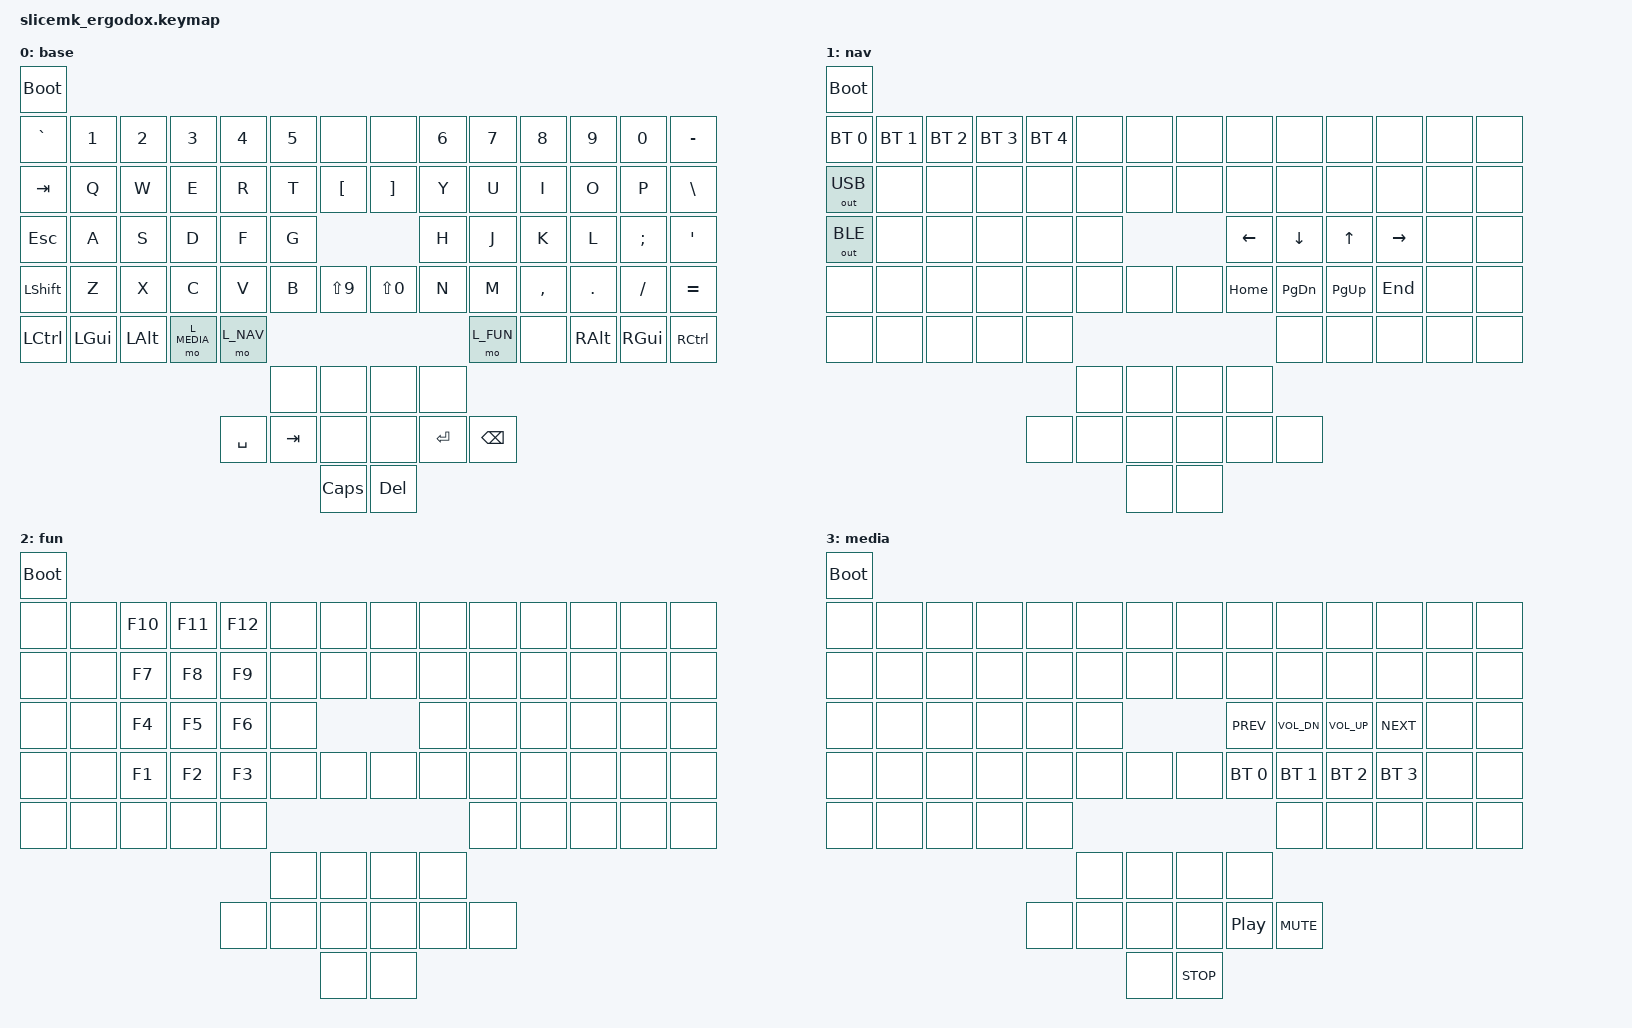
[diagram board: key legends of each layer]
#include <behaviors.dtsi>
#include <dt-bindings/zmk/bt.h>
#include <dt-bindings/zmk/keys.h>
#include <dt-bindings/zmk/outputs.h>

#define L_BASE 0
#define L_NAV 1
#define L_FUN 2
#define L_MEDIA 3

/ {
    keymap {
        compatible = "zmk,keymap";

        base {
            bindings = <
                &bootloader
                &kp GRAVE    &kp N1       &kp N2       &kp N3       &kp N4       &kp N5       &none                &none        &kp N6       &kp N7       &kp N8       &kp N9       &kp N0        &kp MINUS
                &kp TAB      &kp Q        &kp W        &kp E        &kp R        &kp T        &kp LBKT             &kp RBKT     &kp Y        &kp U        &kp I        &kp O        &kp P         &kp BSLH
                &kp ESC      &kp A        &kp S        &kp D        &kp F        &kp G                                          &kp H        &kp J        &kp K        &kp L        &kp SEMICOLON &kp APOS
                &kp LSHFT    &kp Z        &kp X        &kp C        &kp V        &kp B        &kp LS(N9)           &kp LS(N0)   &kp N        &kp M        &kp CMMA     &kp DOT      &kp FSLH      &kp EQUAL
                &kp LCTRL    &kp LGUI     &kp LALT     &mo L_MEDIA  &mo L_NAV                                                                &mo L_FUN    &none        &kp RALT     &kp RGUI      &kp RCTRL
                                                                                 &none        &none                &none        &none
                                                                    &kp SPACE    &kp TAB      &none                &none        &kp RETURN   &kp BKSP
                                                                                              &kp CAPSLOCK         &kp DEL
            >;
        };

        nav {
            bindings = <
                &bootloader
                &bt BT_SEL 0 &bt BT_SEL 1 &bt BT_SEL 2 &bt BT_SEL 3 &bt BT_SEL 4 &none        &none                &none        &none        &none        &none        &none        &none         &none
                &out OUT_USB &none        &none        &none        &none        &none        &none                &none        &none        &none        &none        &none        &none         &none
                &out OUT_BLE &none        &none        &none        &none        &none                                          &kp LEFT     &kp DOWN     &kp UP       &kp RIGHT    &none         &none
                &none        &none        &none        &none        &none        &none        &none                &none        &kp HOME     &kp PG_DN    &kp PG_UP    &kp END      &none         &none
                &none        &none        &none        &none        &none                                                                    &none        &none        &none        &none         &none
                                                                                 &none        &none                &none        &none
                                                                    &none        &none        &none                &none        &none        &none
                                                                                              &none                &none
            >;
        };

        fun {
            bindings = <
                &bootloader
                &none        &none        &kp F10      &kp F11      &kp F12      &none        &none                &none        &none        &none        &none        &none        &none         &none
                &none        &none        &kp F7       &kp F8       &kp F9       &none        &none                &none        &none        &none        &none        &none        &none         &none
                &none        &none        &kp F4       &kp F5       &kp F6       &none                                          &none        &none        &none        &none        &none         &none
                &none        &none        &kp F1       &kp F2       &kp F3       &none        &none                &none        &none        &none        &none        &none        &none         &none
                &none        &none        &none        &none        &none                                                                    &none        &none        &none        &none         &none
                                                                                 &none        &none                &none        &none
                                                                    &none        &none        &none                &none        &none        &none
                                                                                              &none                &none
            >;
        };

        media {
            bindings = <
                &bootloader
                &none        &none        &none        &none        &none        &none        &none                &none        &none        &none        &none        &none        &none         &none
                &none        &none        &none        &none        &none        &none        &none                &none        &none        &none        &none        &none        &none         &none
                &none        &none        &none        &none        &none        &none                                          &kp C_PREV   &kp C_VOL_DN &kp C_VOL_UP &kp C_NEXT   &none         &none
                &none        &none        &none        &none        &none        &none        &none                &none        &bt BT_SEL 0 &bt BT_SEL 1 &bt BT_SEL 2 &bt BT_SEL 3 &none         &none
                &none        &none        &none        &none        &none                                                                    &none        &none        &none        &none         &none
                                                                                 &none        &none                &none        &none
                                                                    &none        &none        &none                &none        &kp C_PP     &kp C_MUTE
                                                                                              &none                &kp C_STOP
            >;
        };
    };
};
